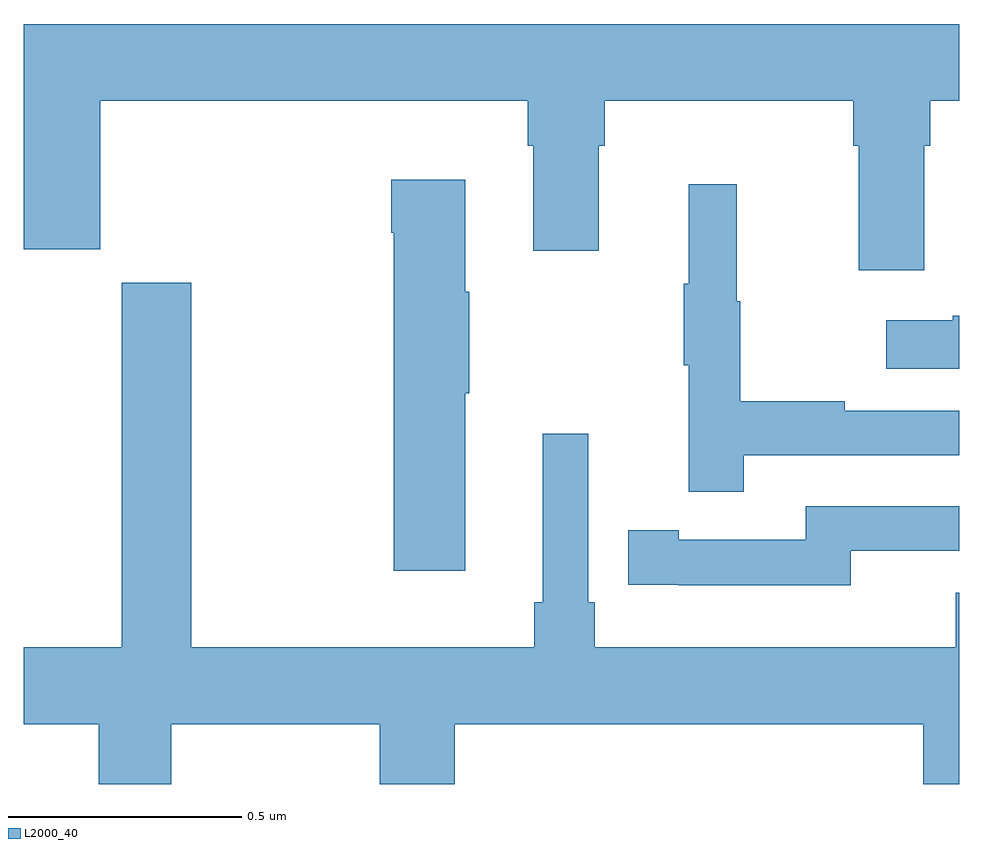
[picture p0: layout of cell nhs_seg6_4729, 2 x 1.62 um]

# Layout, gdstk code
import gdstk
lib = gdstk.Library(unit=1e-6, precision=1e-09)
def P(c, l, *ps):  # polygons
    for p in ps: c.add(gdstk.Polygon(p, *l))
L2000_40 = (2000, 40)

nhs_seg6_4729 = lib.new_cell('nhs_seg6_4729')
P(nhs_seg6_4729, L2000_40, [(174.925,989.864),(174.938,989.864),(174.938,989.96),(175,989.96),(175,990.124),(173,990.124),(173,989.643),(173.164,989.643),(173.164,989.96),(174.077,989.96),(174.077,989.864),(174.089,989.864),(174.089,989.64),(174.229,989.64),(174.229,989.864),(174.242,989.864),(174.242,989.96),(174.773,989.96),(174.773,989.864),(174.785,989.864),(174.785,989.598),(174.925,989.598)],
  [(173.944,989.335),(173.952,989.335),(173.952,989.552),(173.944,989.552),(173.944,989.791),(173.786,989.791),(173.786,989.678),(173.791,989.678),(173.791,988.956),(173.944,988.956)],
  [(174.539,989.202),(175,989.202),(175,989.298),(174.755,989.298),(174.755,989.318),(174.532,989.318),(174.532,989.532),(174.524,989.532),(174.524,989.782),(174.422,989.782),(174.422,989.569),(174.411,989.569),(174.411,989.395),(174.422,989.395),(174.422,989.124),(174.539,989.124)],
  [(173.21,988.792),(173,988.792),(173,988.628),(173.161,988.628),(173.161,988.5),(173.316,988.5),(173.316,988.628),(173.761,988.628),(173.761,988.5),(173.921,988.5),(173.921,988.628),(174.923,988.628),(174.923,988.5),(175,988.5),(175,988.909),(174.992,988.909),(174.992,988.792),(174.221,988.792),(174.221,988.888),(174.207,988.888),(174.207,989.248),(174.11,989.248),(174.11,988.888),(174.091,988.888),(174.091,988.792),(173.358,988.792),(173.358,989.571),(173.21,989.571)],
  [(175,989.501),(174.986,989.501),(174.986,989.491),(174.843,989.491),(174.843,989.387),(175,989.387)],
  [(174.768,988.998),(175,988.998),(175,989.094),(174.672,989.094),(174.672,989.022),(174.4,989.022),(174.4,989.042),(174.292,989.042),(174.292,988.926),(174.4,988.926),(174.4,988.925),(174.768,988.925)])

lib.write_gds('nhs_seg6_4729.gds')
